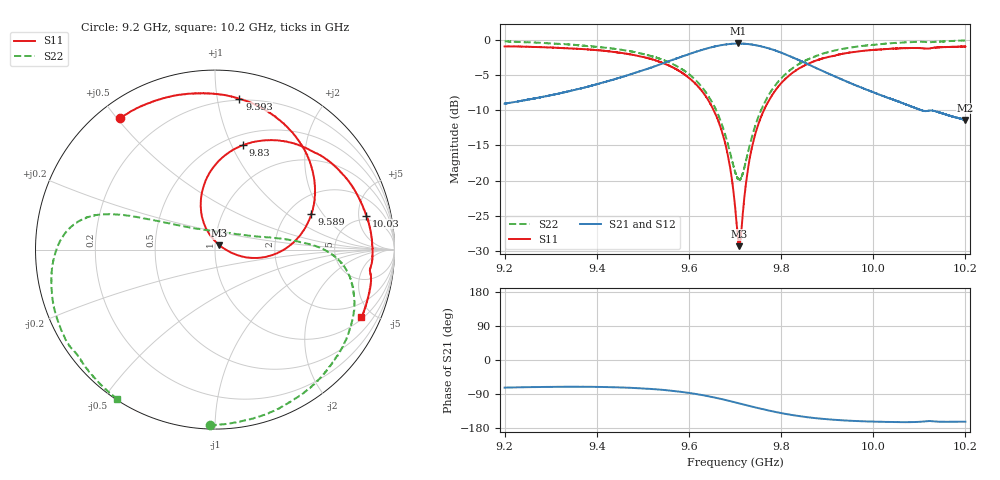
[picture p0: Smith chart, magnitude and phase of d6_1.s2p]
!Agilent Technologies,N5242A,MY51221714,A.09.90.19
!Agilent N5242A: A.09.90.19
!Date: Saturday, March 16, 2024 09:13:57
!Correction: S11(Full 2 Port(1,2))
!S21(Full 2 Port(1,2))
!S12(Full 2 Port(1,2))
!S22(Full 2 Port(1,2))
!S2P File: Measurements: S11, S21, S12, S22:
# Hz S  dB  R 50
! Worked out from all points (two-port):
!   16001 points, 9.2 GHz to 10.2 GHz, reference 50 ohm
!   highest |S21| = -0.48 dB at 9.707 GHz (marker M1); lowest = -11.4 dB at 10.2 GHz (marker M2)
!   |S21| within 3 dB of the highest: 9.536106 GHz to 9.536133 GHz (27.27 kHz wide, 0.000286 % of centre); 9.537 GHz to 9.86 GHz (323.6 MHz wide, 3.34 % of centre)
!   lowest |S11| = -29.3 dB at 9.709 GHz (marker M3), VSWR 1.07, Z = 52.4 + j2.59 ohm
!   |S11| at or under -10 dB: 9.654 GHz to 9.763 GHz (108.8 MHz wide, 1.12 % of centre)
!   |S22| runs from -19.9 to -0.1 dB; largest |S21 - S12| = 0.012
!   S11 on the Smith chart (normalised r, x): 9.2 GHz: 0.07, +0.51; 9.393 GHz: 0.19, +1.16; 9.589 GHz: 2.64, +1.58; 9.83 GHz: 0.61, +1.11; 10.03 GHz: 4.20, +6.24; 10.2 GHz: 1.09, -4.28
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9.2e9  -0.90 125.8  -9.04 -72.9  -9.04 -73.5  -0.17 -91.7
9.27775e9  -1.00 108.4  -8.14 -71.3  -8.13 -71.7  -0.39 -70.2
9.366688e9  -1.27 87.5  -6.86 -70.7  -6.84 -71.2  -0.76 -46.6
9.393125e9  -1.39 80.8  -6.41 -70.8  -6.40 -71.4  -0.91 -39.8
9.533375e9  -3.01 40.3  -3.55 -77.8  -3.55 -78.3  -2.57 -9.0
9.588688e9  -4.83 20.5  -2.26 -85.1  -2.25 -85.5  -4.30 -0.1
9.663125e9  -11.38 -9.2  -0.82 -101.0  -0.81 -101.5  -10.57 13.4
9.685188e9  -16.63 -14.1  -0.58 -107.2  -0.57 -107.7  -14.97 27.2
9.7e9  -23.55 -3.6  -0.51 -111.6  -0.49 -112.2  -18.74 53.5
9.706688e9  -28.41 25.7  -0.48 -113.7  -0.49 -114.2  -19.80 74.2
9.708875e9  -29.33 46.2  -0.51 -114.4  -0.49 -114.8  -19.88 81.5
9.73e9  -17.58 113.4  -0.58 -120.8  -0.56 -121.4  -15.46 135.0
9.749375e9  -12.21 108.9  -0.79 -126.6  -0.77 -127.1  -11.17 149.0
9.784312e9  -7.47 94.5  -1.41 -136.2  -1.41 -136.8  -6.71 157.1
9.830438e9  -4.40 74.9  -2.62 -146.3  -2.60 -147.0  -3.76 162.4
9.866688e9  -3.15 61.1  -3.70 -152.4  -3.68 -152.9  -2.50 166.6
9.950438e9  -1.77 33.9  -6.12 -160.4  -6.12 -160.8  -1.07 -179.8
1.002975e10  -1.28 12.7  -8.17 -163.4  -8.16 -164.0  -0.50 -163.6
1.003338e10  -1.26 11.8  -8.26 -163.5  -8.24 -164.0  -0.47 -162.8
1.01055e10  -1.15 -5.4  -10.00 -162.7  -9.99 -163.2  -0.24 -146.7
1.019988e10  -0.93 -24.8  -11.36 -162.7  -11.36 -163.3  -0.06 -123.2
1.02e10  -0.92 -24.8  -11.36 -162.7  -11.36 -163.3  -0.06 -123.2
